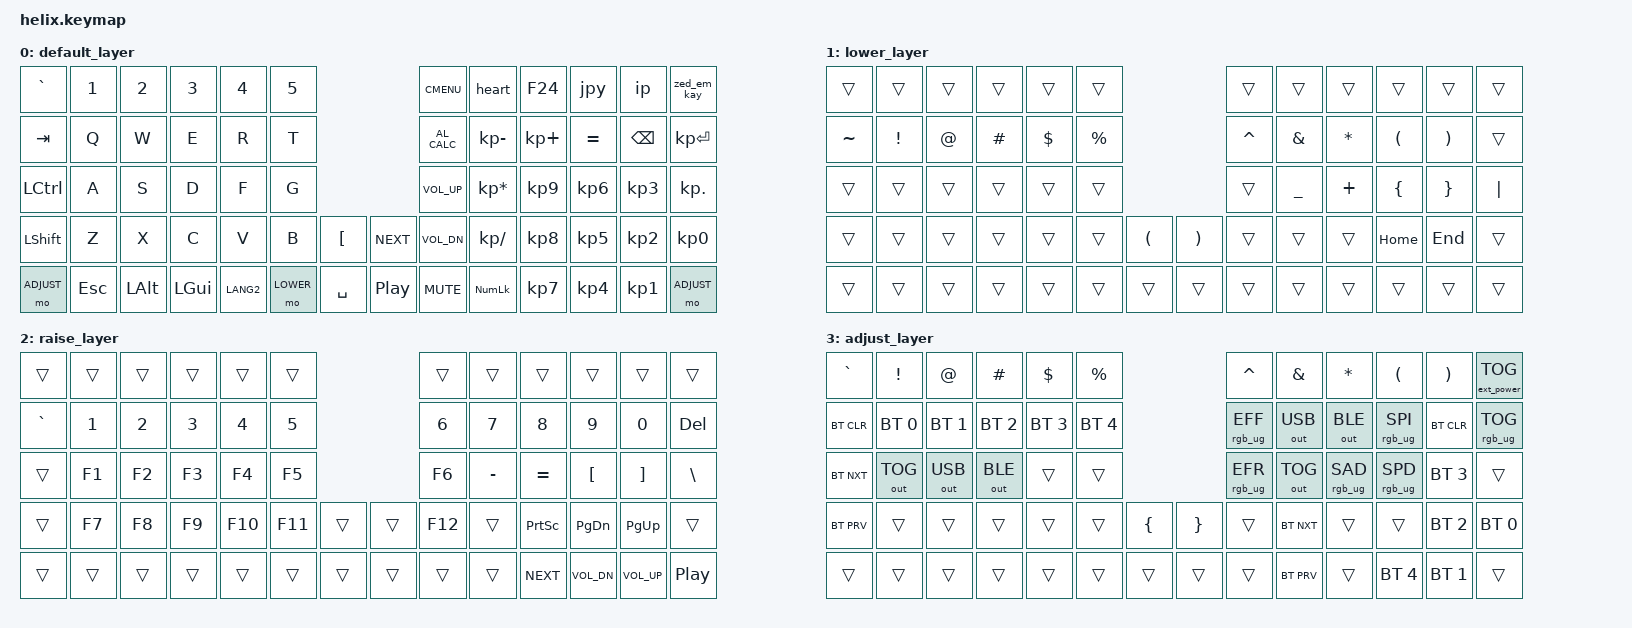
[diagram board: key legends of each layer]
/*
 * Copyright (c) 2020 The ZMK Contributors
 *
 * SPDX-License-Identifier: MIT
 */

 #include <behaviors.dtsi>
 #include <dt-bindings/zmk/keys.h>
 #include <dt-bindings/zmk/bt.h>
 #include <dt-bindings/zmk/rgb.h>
 #include <dt-bindings/zmk/ext_power.h>
 #include <dt-bindings/zmk/outputs.h>

 #define DEFAULT 0
 #define LOWER  1
 #define RAISE  2
 #define ADJUST 3

/* NOTE: At the time of the creation of this keymap, there are no specified codes for 'eisuu' and 'kana' input in ZMK.
However, 'LANG1' and 'LANG2' are fully-functioning candidates for 'kana' and 'eisuu' input respectively.
As such, those are in use within the default layer at this time.*/

/ {
      macros {
        zed_em_kay: zed_em_kay {
              compatible = "zmk,behavior-macro";
              #binding-cells = <0>;
              bindings
                  = <&macro_press &kp LSHFT>
                  , <&macro_tap &kp Z &kp M &kp K>
                  , <&macro_release &kp LSHFT>
                  ;
              };
        ip: ip_local {
              compatible = "zmk,behavior-macro";
              #binding-cells = <0>;
              bindings
                  = <&macro_tap &kp N1 &kp N9 &kp N2 &kp PERIOD &kp N1 &kp N6 &kp N8 &kp PERIOD &kp N1 &kp PERIOD >
                  ;
              };
        heart: emoji_heart {
              compatible = "zmk,behavior-macro";
              #binding-cells = <0>;
              bindings
                  = <&macro_press   &kp LALT>
                  , <&macro_tap     &kp KP_N3 >
                  , <&macro_release &kp LALT>
                  ;
              }; 
        jpy: japanese_yen {
              compatible = "zmk,behavior-macro";
              #binding-cells = <0>;
              bindings
                  = <&macro_tap   &kp INT_YEN>
                  ;
              }; 
       };
       keymap {
              compatible = "zmk,keymap";

              default_layer {
 // ---------------------------------------------------------------------------------------------------------------------------------
 // | GRAVE  |   1    |   2    |   3    |   4    |   5    |                                      |   6    |   7    |   8    |   9    |   0    |  DEL   |
 // |  TAB   |   Q    |   W    |   E    |   R    |   T    |                                      |   Y    |   U    |   I    |   O    |   P    |  BSPC  |
 // |  CTRL  |   A    |   S    |   D    |   F    |   G    |                                      |   H    |   J    |   K    |   L    |   ;    |   '    |
 // |  SHIFT |   Z    |   X    |   C    |   V    |   B    |  LBKT  |                    |  RBKT  |   N    |   M    |   ,    |   .    |   /    |  RET   |
 // | ADJUST |  ESC   |  ALT   |  LGUI  | EISUU  | LOWER  | SPACE  |                    |  SPACE | RAISE  |  KANA  |  LEFT  |  DOWN  |  UP    |  RIGHT |
                     bindings = <
       &kp GRAVE  &kp N1  &kp N2   &kp N3   &kp N4    &kp N5                                 &kp K_CMENU   &heart          &kp F24     &jpy      &ip       &zed_em_kay
       &kp TAB    &kp Q   &kp W    &kp E    &kp R     &kp T                                  &kp C_AL_CALC &kp KP_MINUS    &kp KP_PLUS &kp EQUAL &kp BSPC  &kp KP_ENTER
       &kp LCTRL  &kp A   &kp S    &kp D    &kp F     &kp G                                  &kp C_VOL_UP  &kp KP_MULTIPLY &kp KP_N9   &kp KP_N6 &kp KP_N3 &kp KP_DOT
       &kp LSHFT  &kp Z   &kp X    &kp C    &kp V     &kp B     &kp LBKT         &kp C_NEXT  &kp C_VOL_DN  &kp KP_SLASH    &kp KP_N8   &kp KP_N5 &kp KP_N2 &kp KP_N0
       &mo ADJUST &kp ESC &kp LALT &kp LGUI &kp LANG2 &mo LOWER &kp SPACE        &kp C_PP    &kp C_MUTE    &kp KP_NUMLOCK  &kp KP_N7   &kp KP_N4 &kp KP_N1 &mo ADJUST
                     >;
              };
              lower_layer {
 // ---------------------------------------------------------------------------------------------------------------------------------
 // |      |      |      |      |      |      |                                  |      |      |      |      |      |      |
 // |  ~   |  !   |  @   |  #   |  $   |  %   |                                  |  ^   |  &   |  *   |  (   |  )   |      |
 // |      |      |      |      |      |      |                                  |      |  _   |  +   |  {   |  }   | PIPE |
 // |      |      |      |      |      |      |  (   |                    |  )   |      |      |      | HOME | END  |      |
 // |      |      |      |      |      |      |      |                    |      |      |      |      |      |      |      |
                     bindings = <
       &trans    &trans   &trans &trans   &trans   &trans                             &trans    &trans    &trans    &trans   &trans   &trans
       &kp TILDE &kp EXCL &kp AT &kp HASH &kp DLLR &kp PRCNT                          &kp CARET &kp AMPS  &kp ASTRK &kp LPAR &kp RPAR &trans
       &trans    &trans   &trans &trans   &trans   &trans                             &trans    &kp UNDER &kp PLUS  &kp LBRC &kp RBRC &kp PIPE
       &trans    &trans   &trans &trans   &trans   &trans    &kp LPAR        &kp RPAR &trans    &trans    &trans    &kp HOME &kp END  &trans
       &trans    &trans   &trans &trans   &trans   &trans    &trans          &trans   &trans    &trans    &trans    &trans   &trans   &trans
                     >;
              };
              raise_layer {
 // ---------------------------------------------------------------------------------------------------------------------------------
 // |       |       |       |       |       |       |                                    |       |       |       |       |       |       |
 // |   `   |   1   |   2   |   3   |   4   |   5   |                                    |   6   |   7   |   8   |   9   |   0   |  DEL  |
 // |       |  F1   |  F2   |  F3   |  F4   |  F5   |                                    |  F6   |   -   |   =   |   [   |   ]   |   \   |
 // |       |  F7   |  F8   |  F9   |  F10  |  F11  |       |                    |       |  F12  |       | PSCRN | PG_DN | PG_UP |       |
 // |       |       |       |       |       |       |       |                    |       |       |       | NEXT  | VOL-  | VOL+  | PLAY  |
                     bindings = <
       &trans    &trans &trans &trans &trans  &trans                       &trans  &trans    &trans     &trans       &trans       &trans
       &kp GRAVE &kp N1 &kp N2 &kp N3 &kp N4  &kp N5                       &kp N6  &kp N7    &kp N8     &kp N9       &kp N0       &kp DEL
       &trans    &kp F1 &kp F2 &kp F3 &kp F4  &kp F5                       &kp F6  &kp MINUS &kp EQUAL  &kp LBKT     &kp RBKT     &kp BSLH
       &trans    &kp F7 &kp F8 &kp F9 &kp F10 &kp F11 &trans        &trans &kp F12 &trans    &kp PSCRN  &kp PG_DN    &kp PG_UP    &trans
       &trans    &trans &trans &trans &trans  &trans  &trans        &trans &trans  &trans    &kp C_NEXT &kp C_VOL_DN &kp C_VOL_UP &kp C_PP
                     >;
              };
              adjust_layer {
 // ---------------------------------------------------------------------------------------------------------------------------------
 // |    `     |    !     |    @     |    #     |    $     |    %     |                                          |    ^     |    &     |    *     |    (     |    )     |  EP TOG  |
 // |  BT CLR  | BT SEL0  | BT SEL1  | BT SEL2  | BGT SEL3 | BT SEL4  |                                          | RGB EFF+ | RGB HUE+ | RGB SAT+ | RGB SPD+ | RGB BRI+ | RGB TOG  |
 // |  BT NXT  | OUT TOG  | OUT USB  | OUT BLE  |          |          |                                          | RGB EFF- | RGB HUE- | RGB SAT- | RGB SPD- | RGB BRI- |          |
 // |  BT PRV  |          |          |          |          |          |    {     |                    |    }     |          |          |          |          |          |          |
 // |          |          |          |          |          |          |          |                    |          |          |          |          |          |          |          |
                     bindings = <
       &kp GRAVE  &kp EXCL     &kp AT       &kp HASH     &kp DLLR     &kp PRCNT                             &kp CARET       &kp AMPS     &kp ASTRK       &kp LPAR        &kp RPAR     &ext_power EP_TOG
       &bt BT_CLR &bt BT_SEL 0 &bt BT_SEL 1 &bt BT_SEL 2 &bt BT_SEL 3 &bt BT_SEL 4                          &rgb_ug RGB_EFF &out OUT_USB &out OUT_BLE    &rgb_ug RGB_SPI &bt BT_CLR   &rgb_ug RGB_TOG
       &bt BT_NXT &out OUT_TOG &out OUT_USB &out OUT_BLE &trans       &trans                                &rgb_ug RGB_EFR &out OUT_TOG &rgb_ug RGB_SAD &rgb_ug RGB_SPD &bt BT_SEL 3 &trans
       &bt BT_PRV &trans       &trans       &trans       &trans       &trans       &kp LBRC        &kp RBRC &trans          &bt BT_NXT   &trans          &trans          &bt BT_SEL 2 &bt BT_SEL 0
       &trans     &trans       &trans       &trans       &trans       &trans       &trans          &trans   &trans          &bt BT_PRV   &trans          &bt BT_SEL 4    &bt BT_SEL 1 &trans
                     >;
              };
       };
};
